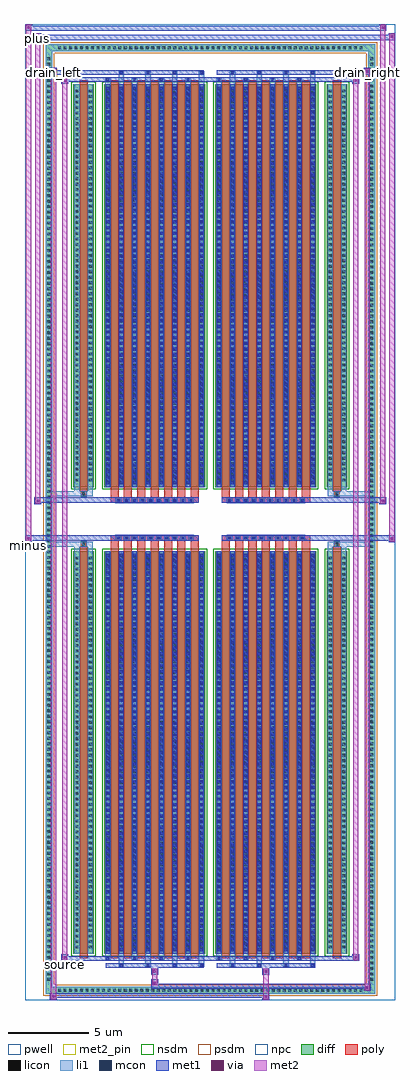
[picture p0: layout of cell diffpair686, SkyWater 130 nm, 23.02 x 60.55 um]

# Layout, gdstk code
import gdstk
lib = gdstk.Library(unit=1e-6, precision=5e-09)
def R(c, l, rs):  # rectangles x0, y0, x1, y1
    for r in rs: c.add(gdstk.rectangle(r[:2], r[2:], *l))
def A(c, l, x, y, w, h, nx, ny, dx, dy):  # array of equal rectangles
    R(c, l, [(x+i*dx, y+j*dy, x+i*dx+w, y+j*dy+h) for i in range(nx) for j in range(ny)])
def P(c, l, *ps):  # polygons
    for p in ps: c.add(gdstk.Polygon(p, *l))
pwell = (64, 44)
diff = (65, 20)
poly = (66, 20)
licon = (66, 44)
li1 = (67, 20)
mcon = (67, 44)
met1 = (68, 20)
via = (68, 44)
met2_pin = (69, 16)
met2 = (69, 20)
nsdm = (93, 44)
psdm = (94, 20)
npc = (95, 20)

diffpair686 = lib.new_cell('diffpair686')
R(diffpair686, pwell, [(-11.49,-29.84,11.49,30.71), (-8.81,-28.03,-0.01,-0.805), (0.01,-28.03,8.81,-0.805), (-8.81,0.805,-0.01,28.03), (0.01,0.805,8.81,28.03)])
A(diffpair686, diff, -9.555, -29.44, 0.41, 0.41, 56, 2, 0.34, 58.47)
A(diffpair686, diff, -10.22, -28.765, 0.41, 0.41, 1, 169, 0, 0.34)
A(diffpair686, diff, 9.81, -28.765, 0.41, 0.41, 1, 169, 0, 0.34)
R(diffpair686, diff, [(-9.555,-29.44,9.555,-29.03), (-10.22,-28.765,-9.81,28.765), (9.81,-28.765,10.22,28.765), (-8.5,-26.985,-7.22,-1.985), (-6.58,-26.985,-0.32,-1.985), (0.32,-26.985,6.58,-1.985), (7.22,-26.985,8.5,-1.985), (-8.5,1.985,-7.22,26.985), (-6.58,1.985,-0.32,26.985), (0.32,1.985,6.58,26.985), (7.22,1.985,8.5,26.985), (-9.555,29.03,9.555,29.44)])
P(diffpair686, diff, [(10.22,29.44),(-10.22,29.44),(-10.22,-29.03),(-9.81,-29.03),(-9.81,29.03),(9.81,29.03),(9.81,-29.03),(-9.81,-29.03),(-10.22,-29.03),(-10.22,-29.44),(10.22,-29.44)])
A(diffpair686, poly, -6.19, -27.235, 0.5, 25.5, 7, 2, 0.83, 28.97)
A(diffpair686, poly, 0.71, -27.235, 0.5, 25.5, 7, 2, 0.83, 28.97)
A(diffpair686, poly, -6.19, -1.735, 0.5, 0.4, 7, 2, 0.83, 3.07)
A(diffpair686, poly, 0.71, -1.735, 0.5, 0.4, 7, 2, 0.83, 3.07)
A(diffpair686, poly, -5.865, -1.335, 0.33, 0.33, 10, 2, 0.5, 2.34)
A(diffpair686, poly, 1.035, -1.335, 0.33, 0.33, 10, 2, 0.5, 2.34)
R(diffpair686, poly, [(-8.11,-27.235,-7.61,-1.735), (7.61,-27.235,8.11,-1.735), (-8.025,-1.735,-7.695,-1.405), (-8.025,-1.735,-7.695,-1.405), (7.695,-1.735,8.025,-1.405), (7.695,-1.735,8.025,-1.405), (-6.19,-1.335,-0.71,-1.005), (0.71,-1.335,6.19,-1.005), (-6.19,1.005,-0.71,1.335), (0.71,1.005,6.19,1.335), (-8.025,1.405,-7.695,1.735), (-8.025,1.405,-7.695,1.735), (7.695,1.405,8.025,1.735), (7.695,1.405,8.025,1.735), (-8.11,1.735,-7.61,27.235), (7.61,1.735,8.11,27.235)])
A(diffpair686, licon, -9.435, -29.32, 0.17, 0.17, 56, 2, 0.34, 58.47)
A(diffpair686, licon, -10.1, -28.645, 0.17, 0.17, 1, 169, 0, 0.34)
A(diffpair686, licon, 9.93, -28.645, 0.17, 0.17, 1, 169, 0, 0.34)
A(diffpair686, licon, -8.36, -26.64, 0.17, 0.17, 1, 72, 0, 0.34)
A(diffpair686, licon, -7.53, -26.64, 0.17, 0.17, 1, 72, 0, 0.34)
A(diffpair686, licon, -6.44, -26.64, 0.17, 0.17, 8, 72, 0.83, 0.34)
A(diffpair686, licon, 0.46, -26.64, 0.17, 0.17, 8, 72, 0.83, 0.34)
A(diffpair686, licon, 7.36, -26.64, 0.17, 0.17, 1, 72, 0, 0.34)
A(diffpair686, licon, 8.19, -26.64, 0.17, 0.17, 1, 72, 0, 0.34)
A(diffpair686, licon, -5.785, -1.255, 0.17, 0.17, 10, 2, 0.5, 2.34)
A(diffpair686, licon, 1.115, -1.255, 0.17, 0.17, 10, 2, 0.5, 2.34)
A(diffpair686, licon, -8.36, 2.33, 0.17, 0.17, 1, 72, 0, 0.34)
A(diffpair686, licon, -7.53, 2.33, 0.17, 0.17, 1, 72, 0, 0.34)
A(diffpair686, licon, -6.44, 2.33, 0.17, 0.17, 8, 72, 0.83, 0.34)
A(diffpair686, licon, 0.46, 2.33, 0.17, 0.17, 8, 72, 0.83, 0.34)
A(diffpair686, licon, 7.36, 2.33, 0.17, 0.17, 1, 72, 0, 0.34)
A(diffpair686, licon, 8.19, 2.33, 0.17, 0.17, 1, 72, 0, 0.34)
R(diffpair686, licon, [(-7.945,-1.655,-7.775,-1.485), (7.775,-1.655,7.945,-1.485), (-7.945,1.485,-7.775,1.655), (7.775,1.485,7.945,1.655)])
A(diffpair686, li1, -9.515, -29.4, 0.33, 0.33, 56, 2, 0.34, 58.47)
A(diffpair686, li1, -10.18, -28.725, 0.33, 0.33, 1, 169, 0, 0.34)
A(diffpair686, li1, 9.85, -28.725, 0.33, 0.33, 1, 169, 0, 0.34)
A(diffpair686, li1, -5.69, -27.79, 0.33, 0.805, 4, 2, 1.66, 54.775)
A(diffpair686, li1, -5.61, -27.79, 0.17, 0.17, 4, 2, 1.66, 55.41)
A(diffpair686, li1, 1.21, -27.79, 0.33, 0.805, 4, 2, 1.66, 54.775)
A(diffpair686, li1, 1.29, -27.79, 0.17, 0.17, 4, 2, 1.66, 55.41)
A(diffpair686, li1, -6.52, -27.36, 0.33, 0.375, 4, 2, 1.66, 54.345)
A(diffpair686, li1, -6.44, -27.36, 0.17, 0.17, 4, 2, 1.66, 54.55)
A(diffpair686, li1, 0.38, -27.36, 0.33, 0.375, 4, 2, 1.66, 54.345)
A(diffpair686, li1, 0.46, -27.36, 0.17, 0.17, 4, 2, 1.66, 54.55)
A(diffpair686, li1, -6.52, -26.985, 0.33, 25, 8, 2, 0.83, 28.97)
A(diffpair686, li1, 0.38, -26.985, 0.33, 25, 8, 2, 0.83, 28.97)
A(diffpair686, li1, -6.44, -26.81, 0.17, 0.17, 8, 69, 0.83, 0.36)
A(diffpair686, li1, -6.44, -26.81, 0.17, 24.65, 8, 2, 0.83, 28.97)
A(diffpair686, li1, 0.46, -26.81, 0.17, 0.17, 8, 69, 0.83, 0.36)
A(diffpair686, li1, 0.46, -26.81, 0.17, 24.65, 8, 2, 0.83, 28.97)
A(diffpair686, li1, -8.44, -26.72, 0.33, 0.33, 1, 72, 0, 0.34)
A(diffpair686, li1, -7.61, -26.72, 0.33, 0.33, 1, 72, 0, 0.34)
A(diffpair686, li1, -6.52, -26.72, 0.33, 0.33, 8, 72, 0.83, 0.34)
A(diffpair686, li1, 0.38, -26.72, 0.33, 0.33, 8, 72, 0.83, 0.34)
A(diffpair686, li1, 7.28, -26.72, 0.33, 0.33, 1, 72, 0, 0.34)
A(diffpair686, li1, 8.11, -26.72, 0.33, 0.33, 1, 72, 0, 0.34)
A(diffpair686, li1, -5.865, -1.335, 0.33, 0.33, 10, 2, 0.5, 2.34)
A(diffpair686, li1, 1.035, -1.335, 0.33, 0.33, 10, 2, 0.5, 2.34)
A(diffpair686, li1, -6.44, 2.16, 0.17, 0.17, 8, 69, 0.83, 0.36)
A(diffpair686, li1, 0.46, 2.16, 0.17, 0.17, 8, 69, 0.83, 0.36)
A(diffpair686, li1, -8.44, 2.25, 0.33, 0.33, 1, 72, 0, 0.34)
A(diffpair686, li1, -7.61, 2.25, 0.33, 0.33, 1, 72, 0, 0.34)
A(diffpair686, li1, -6.52, 2.25, 0.33, 0.33, 8, 72, 0.83, 0.34)
A(diffpair686, li1, 0.38, 2.25, 0.33, 0.33, 8, 72, 0.83, 0.34)
A(diffpair686, li1, 7.28, 2.25, 0.33, 0.33, 1, 72, 0, 0.34)
A(diffpair686, li1, 8.11, 2.25, 0.33, 0.33, 1, 72, 0, 0.34)
R(diffpair686, li1, [(-10.22,-29.44,-9.81,-29.03), (-10.22,-29.44,-9.81,-29.03), (-9.81,-29.44,9.81,-29.03), (9.81,-29.44,10.22,-29.03), (9.81,-29.44,10.22,-29.03), (-10.22,-29.03,-9.81,29.03), (9.81,-29.03,10.22,29.03), (-8.44,-26.985,-8.11,-1.985), (-7.61,-26.985,-7.28,-1.985), (7.28,-26.985,7.61,-1.985), (8.11,-26.985,8.44,-1.985), (-8.44,-1.985,-8.11,-1.405), (-7.61,-1.985,-7.28,-1.405), (7.28,-1.985,7.61,-1.405), (8.11,-1.985,8.44,-1.405), (-10.22,-1.735,-8.025,-1.405), (-8.44,-1.735,-8.025,-1.405), (-8.025,-1.735,-7.695,-1.405), (-7.695,-1.735,-7.28,-1.405), (7.28,-1.735,7.695,-1.405), (7.695,-1.735,8.025,-1.405), (7.695,-1.735,10.22,-1.405), (8.025,-1.735,8.44,-1.405), (-10.22,1.405,-8.025,1.735), (-8.44,1.405,-8.025,1.735), (-8.44,1.405,-8.11,1.985), (-8.025,1.405,-7.695,1.735), (-7.695,1.405,-7.28,1.735), (-7.61,1.405,-7.28,1.985), (7.28,1.405,7.695,1.735), (7.28,1.405,7.61,1.985), (7.695,1.405,8.025,1.735), (7.695,1.405,10.22,1.735), (8.025,1.405,8.44,1.735), (8.11,1.405,8.44,1.985), (-8.44,1.985,-8.11,26.985), (-7.61,1.985,-7.28,26.985), (7.28,1.985,7.61,26.985), (8.11,1.985,8.44,26.985), (-10.22,29.03,-9.81,29.44), (-10.22,29.03,-9.81,29.44), (-9.81,29.03,9.81,29.44), (9.81,29.03,10.22,29.44), (9.81,29.03,10.22,29.44)])
A(diffpair686, mcon, -5.61, -27.79, 0.17, 0.17, 4, 2, 1.66, 55.41)
A(diffpair686, mcon, 1.29, -27.79, 0.17, 0.17, 4, 2, 1.66, 55.41)
A(diffpair686, mcon, -6.44, -27.36, 0.17, 0.17, 4, 2, 1.66, 54.55)
A(diffpair686, mcon, 0.46, -27.36, 0.17, 0.17, 4, 2, 1.66, 54.55)
A(diffpair686, mcon, -6.44, -26.81, 0.17, 0.17, 8, 69, 0.83, 0.36)
A(diffpair686, mcon, 0.46, -26.81, 0.17, 0.17, 8, 69, 0.83, 0.36)
A(diffpair686, mcon, -5.785, -1.255, 0.17, 0.17, 10, 2, 0.5, 2.34)
A(diffpair686, mcon, 1.115, -1.255, 0.17, 0.17, 10, 2, 0.5, 2.34)
A(diffpair686, mcon, -6.44, 2.16, 0.17, 0.17, 8, 69, 0.83, 0.36)
A(diffpair686, mcon, 0.46, 2.16, 0.17, 0.17, 8, 69, 0.83, 0.36)
A(diffpair686, met1, -5.67, -27.85, 0.29, 0.29, 4, 2, 1.66, 55.41)
A(diffpair686, met1, 1.23, -27.85, 0.29, 0.29, 4, 2, 1.66, 55.41)
A(diffpair686, met1, -6.5, -27.42, 0.29, 0.29, 4, 2, 1.66, 54.55)
A(diffpair686, met1, 0.4, -27.42, 0.29, 0.29, 4, 2, 1.66, 54.55)
A(diffpair686, met1, -6.5, -26.985, 0.29, 25, 8, 2, 0.83, 28.97)
A(diffpair686, met1, 0.4, -26.985, 0.29, 25, 8, 2, 0.83, 28.97)
A(diffpair686, met1, -6.5, -26.87, 0.29, 0.29, 8, 69, 0.83, 0.36)
A(diffpair686, met1, 0.4, -26.87, 0.29, 0.29, 8, 69, 0.83, 0.36)
A(diffpair686, met1, -5.845, -1.315, 0.29, 0.29, 10, 2, 0.5, 2.34)
A(diffpair686, met1, 1.055, -1.315, 0.29, 0.29, 10, 2, 0.5, 2.34)
A(diffpair686, met1, -6.5, 2.1, 0.29, 0.29, 8, 69, 0.83, 0.36)
A(diffpair686, met1, 0.4, 2.1, 0.29, 0.29, 8, 69, 0.83, 0.36)
R(diffpair686, met1, [(-9.95,-29.84,-9.52,-29.41), (3.235,-29.84,3.665,-29.41), (-9.95,-29.7,3.665,-29.41), (9.52,-29.27,9.95,-28.84), (-3.665,-29.13,9.95,-28.84), (-3.665,-28.99,-3.235,-28.56), (-3.665,-28.28,-3.235,-27.85), (3.235,-28.28,3.665,-27.85), (-6.5,-27.85,-0.4,-27.56), (0.4,-27.85,6.5,-27.56), (-9.24,-27.42,-8.81,-26.99), (-9.24,-27.42,-6.5,-27.13), (-6.5,-27.42,-0.4,-27.13), (-0.4,-27.42,0.4,-27.13), (0.4,-27.42,6.5,-27.13), (6.5,-27.42,9.24,-27.13), (8.81,-27.42,9.24,-26.99), (-11.49,-1.435,-11.06,-1.005), (11.06,-1.435,11.49,-1.005), (-11.49,-1.335,-0.71,-1.005), (-6.19,-1.335,-0.71,-1.005), (0.71,-1.335,6.19,-1.005), (0.71,-1.335,11.49,-1.005), (-10.92,0.905,-10.49,1.335), (10.49,0.905,10.92,1.335), (-10.92,1.005,-6.19,1.335), (-6.19,1.005,-0.71,1.335), (0.71,1.005,6.19,1.335), (6.19,1.005,10.92,1.335), (-9.24,26.99,-8.81,27.42), (8.81,26.99,9.24,27.42), (-9.24,27.13,-6.5,27.42), (-6.5,27.13,-0.4,27.42), (-0.4,27.13,0.4,27.42), (0.4,27.13,6.5,27.42), (6.5,27.13,9.24,27.42), (-9.95,27.56,-9.52,27.99), (-9.95,27.56,-6.5,27.85), (-6.5,27.56,-0.4,27.85), (0.4,27.56,6.5,27.85), (6.5,27.56,9.95,27.85), (9.52,27.56,9.95,27.99), (-10.92,29.71,-10.49,30.14), (-10.92,29.71,-8.81,30.04), (-8.81,29.71,8.81,30.04), (8.81,29.71,11.49,30.04), (11.06,29.71,11.49,30.14), (-11.49,30.28,-11.06,30.71), (-11.49,30.28,-8.81,30.61), (-8.81,30.28,8.81,30.61), (8.81,30.28,10.92,30.61), (10.49,30.28,10.92,30.71)])
R(diffpair686, via, [(-9.81,-29.7,-9.66,-29.55), (3.375,-29.7,3.525,-29.55), (9.66,-29.13,9.81,-28.98), (-3.525,-28.85,-3.375,-28.7), (-3.525,-28.14,-3.375,-27.99), (3.375,-28.14,3.525,-27.99), (-9.1,-27.28,-8.95,-27.13), (8.95,-27.28,9.1,-27.13), (-11.35,-1.295,-11.2,-1.145), (11.2,-1.295,11.35,-1.145), (-10.78,1.045,-10.63,1.195), (10.63,1.045,10.78,1.195), (-9.1,27.13,-8.95,27.28), (8.95,27.13,9.1,27.28), (-9.81,27.7,-9.66,27.85), (9.66,27.7,9.81,27.85), (-10.78,29.85,-10.63,30), (11.2,29.85,11.35,30), (-11.35,30.42,-11.2,30.57), (10.63,30.42,10.78,30.57)])
R(diffpair686, met2_pin, [(-9.275,-27.87,-8.775,-27.37), (-11.525,-1.885,-11.025,-1.385), (-9.985,27.44,-9.485,27.94), (9.485,27.44,9.985,27.94), (-10.955,29.59,-10.455,30.09)])
R(diffpair686, met2, [(-9.9,-29.79,-9.57,-29.46), (-9.9,-29.79,-9.57,27.94), (3.285,-29.79,3.615,-29.46), (3.285,-29.46,3.615,-28.23), (9.57,-29.22,9.9,-28.89), (9.57,-29.22,9.9,27.94), (-3.615,-28.94,-3.285,-28.61), (-3.615,-28.61,-3.285,-28.23), (-3.615,-28.23,-3.285,-27.9), (3.285,-28.23,3.615,-27.9), (-9.19,-27.37,-8.86,-27.04), (-9.19,-27.37,-8.86,27.37), (8.86,-27.37,9.19,-27.04), (8.86,-27.37,9.19,27.37), (-11.44,-1.385,-11.11,-1.055), (-11.44,-1.385,-11.11,30.66), (11.11,-1.385,11.44,-1.055), (11.11,-1.385,11.44,30.09), (-10.87,0.955,-10.54,1.285), (-10.87,0.955,-10.54,30.09), (10.54,0.955,10.87,1.285), (10.54,0.955,10.87,30.66), (-9.19,27.04,-8.86,27.37), (8.86,27.04,9.19,27.37), (-9.9,27.61,-9.57,27.94), (9.57,27.61,9.9,27.94), (-10.87,29.76,-10.54,30.09), (11.11,29.76,11.44,30.09), (-11.44,30.33,-11.11,30.66), (10.54,30.33,10.87,30.66)])
P(diffpair686, met2, [(11.44,-1.385),(11.44,-1.385),(11.44,-1.055),(11.44,-1.055)],
  [(11.44,29.76),(11.44,29.76),(11.44,30.09),(11.44,30.09)],
  [(-11.11,-1.385),(-11.11,-1.385),(-11.11,-1.055),(-11.11,-1.055)],
  [(-11.11,30.33),(-11.11,30.33),(-11.11,30.66),(-11.11,30.66)],
  [(10.87,0.955),(10.87,0.955),(10.87,1.285),(10.87,1.285)],
  [(10.87,30.33),(10.87,30.33),(10.87,30.66),(10.87,30.66)],
  [(-10.54,0.955),(-10.54,0.955),(-10.54,1.285),(-10.54,1.285)],
  [(-10.54,29.76),(-10.54,29.76),(-10.54,30.09),(-10.54,30.09)],
  [(-9.57,-29.79),(-9.57,-29.79),(-9.57,-29.46),(-9.57,-29.46)],
  [(-9.57,27.61),(-9.57,27.61),(-9.57,27.94),(-9.57,27.94)],
  [(9.9,-29.22),(9.9,-29.22),(9.9,-28.89),(9.9,-28.89)],
  [(9.9,27.61),(9.9,27.61),(9.9,27.94),(9.9,27.94)],
  [(-8.86,-27.37),(-8.86,-27.37),(-8.86,-27.04),(-8.86,-27.04)],
  [(-8.86,27.04),(-8.86,27.04),(-8.86,27.37),(-8.86,27.37)],
  [(9.19,-27.37),(9.19,-27.37),(9.19,-27.04),(9.19,-27.04)],
  [(9.19,27.04),(9.19,27.04),(9.19,27.37),(9.19,27.37)])
R(diffpair686, nsdm, [(-8.63,-27.115,-7.09,-1.855), (-6.71,-27.115,-0.19,-1.855), (0.19,-27.115,6.71,-1.855), (7.09,-27.115,8.63,-1.855), (-8.63,1.855,-7.09,27.115), (-6.71,1.855,-0.19,27.115), (0.19,1.855,6.71,27.115), (7.09,1.855,8.63,27.115)])
P(diffpair686, psdm, [(10.35,29.57),(-10.35,29.57),(-10.35,-28.9),(-9.68,-28.9),(-9.68,28.9),(9.68,28.9),(9.68,-28.9),(-9.68,-28.9),(-10.35,-28.9),(-10.35,-29.57),(10.35,-29.57)])
A(diffpair686, npc, -5.885, -1.355, 0.37, 0.37, 10, 2, 0.5, 2.34)
A(diffpair686, npc, 1.015, -1.355, 0.37, 0.37, 10, 2, 0.5, 2.34)
R(diffpair686, npc, [(-8.045,-1.755,-7.675,-1.385), (7.675,-1.755,8.045,-1.385), (-5.885,-1.355,-5.015,-0.985), (-5.885,-1.355,-5.015,-0.985), (-5.385,-1.355,-4.515,-0.985), (-5.385,-1.355,-4.515,-0.985), (-4.885,-1.355,-4.015,-0.985), (-4.885,-1.355,-4.015,-0.985), (-4.385,-1.355,-3.515,-0.985), (-4.385,-1.355,-3.515,-0.985), (-3.885,-1.355,-3.015,-0.985), (-3.885,-1.355,-3.015,-0.985), (-3.385,-1.355,-2.515,-0.985), (-3.385,-1.355,-2.515,-0.985), (-2.885,-1.355,-2.015,-0.985), (-2.885,-1.355,-2.015,-0.985), (-2.385,-1.355,-1.515,-0.985), (-2.385,-1.355,-1.515,-0.985), (-1.885,-1.355,-1.015,-0.985), (-1.885,-1.355,-1.015,-0.985), (1.015,-1.355,1.885,-0.985), (1.015,-1.355,1.885,-0.985), (1.515,-1.355,2.385,-0.985), (1.515,-1.355,2.385,-0.985), (2.015,-1.355,2.885,-0.985), (2.015,-1.355,2.885,-0.985), (2.515,-1.355,3.385,-0.985), (2.515,-1.355,3.385,-0.985), (3.015,-1.355,3.885,-0.985), (3.015,-1.355,3.885,-0.985), (3.515,-1.355,4.385,-0.985), (3.515,-1.355,4.385,-0.985), (4.015,-1.355,4.885,-0.985), (4.015,-1.355,4.885,-0.985), (4.515,-1.355,5.385,-0.985), (4.515,-1.355,5.385,-0.985), (5.015,-1.355,5.885,-0.985), (5.015,-1.355,5.885,-0.985), (-5.885,0.985,-5.015,1.355), (-5.885,0.985,-5.015,1.355), (-5.385,0.985,-4.515,1.355), (-5.385,0.985,-4.515,1.355), (-4.885,0.985,-4.015,1.355), (-4.885,0.985,-4.015,1.355), (-4.385,0.985,-3.515,1.355), (-4.385,0.985,-3.515,1.355), (-3.885,0.985,-3.015,1.355), (-3.885,0.985,-3.015,1.355), (-3.385,0.985,-2.515,1.355), (-3.385,0.985,-2.515,1.355), (-2.885,0.985,-2.015,1.355), (-2.885,0.985,-2.015,1.355), (-2.385,0.985,-1.515,1.355), (-2.385,0.985,-1.515,1.355), (-1.885,0.985,-1.015,1.355), (-1.885,0.985,-1.015,1.355), (1.015,0.985,1.885,1.355), (1.015,0.985,1.885,1.355), (1.515,0.985,2.385,1.355), (1.515,0.985,2.385,1.355), (2.015,0.985,2.885,1.355), (2.015,0.985,2.885,1.355), (2.515,0.985,3.385,1.355), (2.515,0.985,3.385,1.355), (3.015,0.985,3.885,1.355), (3.015,0.985,3.885,1.355), (3.515,0.985,4.385,1.355), (3.515,0.985,4.385,1.355), (4.015,0.985,4.885,1.355), (4.015,0.985,4.885,1.355), (4.515,0.985,5.385,1.355), (4.515,0.985,5.385,1.355), (5.015,0.985,5.885,1.355), (5.015,0.985,5.885,1.355), (-8.045,1.385,-7.675,1.755), (7.675,1.385,8.045,1.755)])
diffpair686.add(gdstk.Label('minus', (-11.275,-1.635), layer=69, texttype=5))
diffpair686.add(gdstk.Label('drain_right', (9.735,27.69), layer=69, texttype=5))
diffpair686.add(gdstk.Label('drain_left', (-9.735,27.69), layer=69, texttype=5))
diffpair686.add(gdstk.Label('source', (-9.025,-27.62), layer=69, texttype=5))
diffpair686.add(gdstk.Label('plus', (-10.705,29.84), layer=69, texttype=5))

lib.write_gds('diffpair686.gds')
